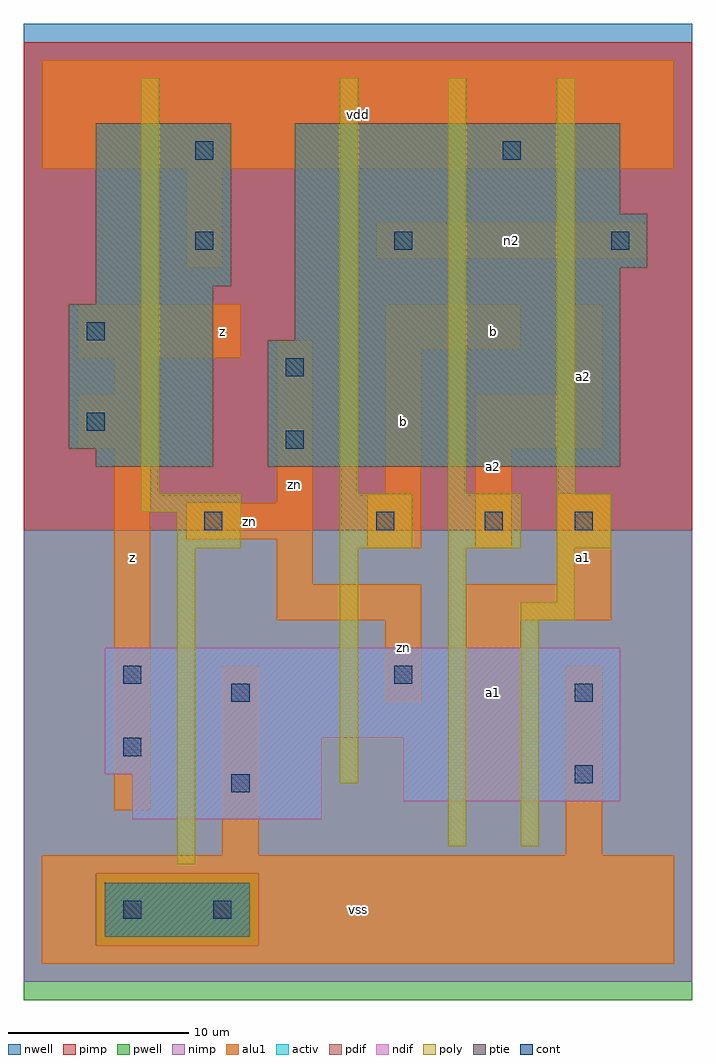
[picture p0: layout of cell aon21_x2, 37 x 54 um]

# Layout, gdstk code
import gdstk
lib = gdstk.Library(unit=1e-6, precision=1e-09)
def R(c, l, rs):  # rectangles x0, y0, x1, y1
    for r in rs: c.add(gdstk.rectangle(r[:2], r[2:], *l))
def A(c, l, x, y, w, h, nx, ny, dx, dy):  # array of equal rectangles
    R(c, l, [(x+i*dx, y+j*dy, x+i*dx+w, y+j*dy+h) for i in range(nx) for j in range(ny)])
ndif = (3, 0)
pdif = (4, 0)
ptie = (6, 0)
cont = (25, 0)
pwell = (41, 0)
nwell = (42, 0)
activ = (43, 0)
pimp = (44, 0)
nimp = (45, 0)
poly = (46, 0)
alu1 = (49, 0)

aon21_x2 = lib.new_cell('aon21_x2')
R(aon21_x2, ndif, [(5,8,15.5,10.5), (20,9,32,12.5), (3.5,10.5,15.5,12.5), (3.5,12.5,32,17.5)])
R(aon21_x2, pdif, [(3,27.5,9.5,28.5), (12.5,27.5,32,34.5), (1.5,28.5,9.5,36.5), (14,34.5,32,38.5), (3,36.5,9.5,37.5), (3,37.5,10.5,46.5), (14,38.5,33.5,41.5), (14,41.5,32,46.5)])
R(aon21_x2, ptie, [(3.5,1.5,11.5,4.5)])
R(aon21_x2, cont, [(4.5,2.5,5.5,3.5), (9.5,2.5,10.5,3.5), (10.5,9.5,11.5,10.5), (29.5,10,30.5,11), (4.5,11.5,5.5,12.5), (10.5,14.5,11.5,15.5), (29.5,14.5,30.5,15.5), (4.5,15.5,5.5,16.5), (19.5,15.5,20.5,16.5), (9,24,10,25), (18.5,24,19.5,25), (24.5,24,25.5,25), (29.5,24,30.5,25), (13.5,28.5,14.5,29.5), (2.5,29.5,3.5,30.5), (13.5,32.5,14.5,33.5), (2.5,34.5,3.5,35.5), (8.5,39.5,9.5,40.5), (19.5,39.5,20.5,40.5), (31.5,39.5,32.5,40.5), (8.5,44.5,9.5,45.5), (25.5,44.5,26.5,45.5)])
R(aon21_x2, pwell, [(-1,-2,36,24)])
R(aon21_x2, nwell, [(-1,24,36,52)])
R(aon21_x2, activ, [(3.5,1.5,11.5,4.5), (5,8,15.5,10.5), (20,9,32,12.5), (3.5,10.5,15.5,12.5), (3.5,12.5,32,17.5), (3,27.5,9.5,28.5), (12.5,27.5,32,34.5), (1.5,28.5,9.5,36.5), (14,34.5,32,38.5), (3,36.5,9.5,37.5), (3,37.5,10.5,46.5), (14,38.5,33.5,41.5), (14,41.5,32,46.5)])
R(aon21_x2, pimp, [(3,1,12,5), (-1,24,36,51)])
R(aon21_x2, nimp, [(-1,-1,36,1), (-1,1,3,5), (12,1,36,5), (-1,5,36,24)])
A(aon21_x2, poly, 16.5, 26, 1, 23, 3, 1, 6, 0)
R(aon21_x2, poly, [(7.5,5.5,8.5,23), (22.5,6.5,23.5,23), (26.5,6.5,27.5,19), (16.5,10,17.5,23), (26.5,19,29.5,20), (28.5,20,29.5,23), (7.5,23,11,25), (16.5,23,20.5,26), (22.5,23,26.5,26), (28.5,23,31.5,26), (5.5,25,11,26), (5.5,26,6.5,49)])
R(aon21_x2, alu1, [(0,0,35,6), (10,6,12,16.5), (29,6,31,16.5), (4,8.5,6,28.5), (23.5,9,26.5,19), (19,14.5,21,19), (13,19,21,21), (23.5,19,31.5,21), (13,21,15,23.5), (28.5,21,31.5,26), (18,23,21,26), (24,23,26,28.5), (8,23.5,15,25.5), (13,25.5,15,34.5), (19,26,21,34), (2,28.5,6,31.5), (24,28.5,31,31.5), (4,31.5,6,33.5), (29,31.5,31,36.5), (2,33.5,11,36.5), (19,34,26.5,36.5), (8,38.5,10,44), (18.5,39,33.5,41), (0,44,35,50)])
aon21_x2.add(gdstk.Label('z', (5,22.5), layer=49, texttype=0))
aon21_x2.add(gdstk.Label('z', (10,35), layer=49, texttype=0))
aon21_x2.add(gdstk.Label('vss', (17.5,3), layer=49, texttype=0))
aon21_x2.add(gdstk.Label('zn', (11.5,24.5), layer=49, texttype=0))
aon21_x2.add(gdstk.Label('zn', (14,26.5), layer=49, texttype=0))
aon21_x2.add(gdstk.Label('vdd', (17.5,47), layer=49, texttype=0))
aon21_x2.add(gdstk.Label('a1', (25,15), layer=49, texttype=0))
aon21_x2.add(gdstk.Label('zn', (20,17.5), layer=49, texttype=0))
aon21_x2.add(gdstk.Label('a2', (25,27.5), layer=49, texttype=0))
aon21_x2.add(gdstk.Label('b', (20,30), layer=49, texttype=0))
aon21_x2.add(gdstk.Label('b', (25,35), layer=49, texttype=0))
aon21_x2.add(gdstk.Label('a1', (30,22.5), layer=49, texttype=0))
aon21_x2.add(gdstk.Label('a2', (30,32.5), layer=49, texttype=0))
aon21_x2.add(gdstk.Label('n2', (26,40), layer=49, texttype=0))

lib.write_gds('aon21_x2.gds')
